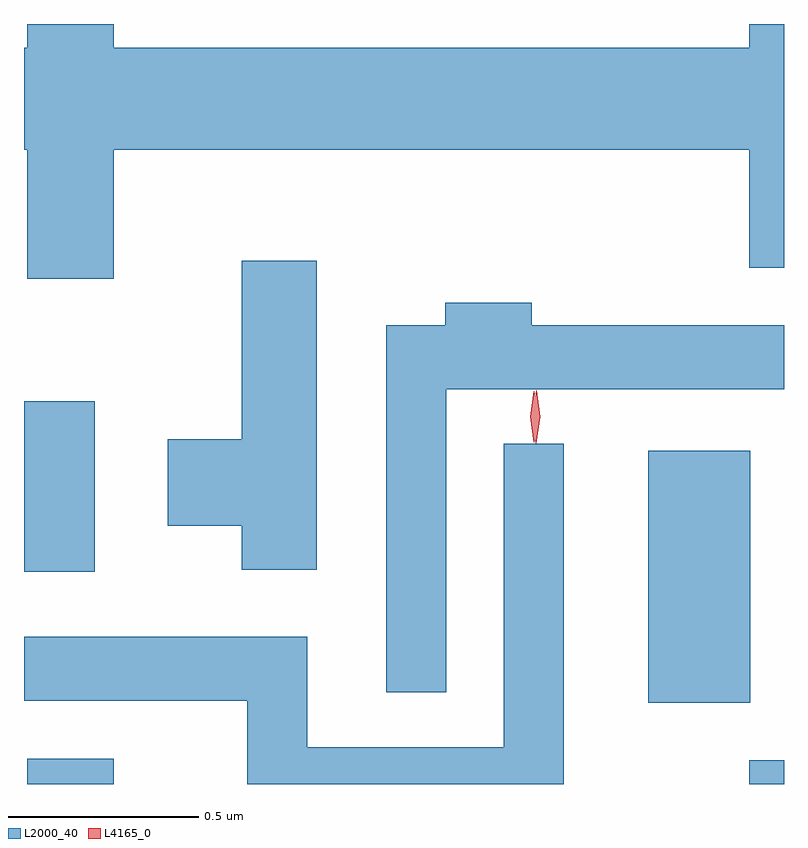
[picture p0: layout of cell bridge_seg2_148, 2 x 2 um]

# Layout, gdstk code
import gdstk
lib = gdstk.Library(unit=1e-6, precision=1e-09)
def R(c, l, rs):  # rectangles x0, y0, x1, y1
    for r in rs: c.add(gdstk.rectangle(r[:2], r[2:], *l))
def P(c, l, *ps):  # polygons
    for p in ps: c.add(gdstk.Polygon(p, *l))
L2000_40 = (2000, 40)
L4165_0 = (4165, 0)

bridge_seg2_148 = lib.new_cell('bridge_seg2_148')
R(bridge_seg2_148, L2000_40, [(1076.091,1106.587,1076.319,1106.654), (1077.991,1106.587,1078.083,1106.649), (1077.726,1106.801,1077.994,1107.464), (1076.083,1107.146,1076.269,1107.594)])
P(bridge_seg2_148, L2000_40, [(1076.319,1108.256),(1077.991,1108.256),(1077.991,1107.946),(1078.083,1107.946),(1078.083,1108.587),(1077.991,1108.587),(1077.991,1108.524),(1076.319,1108.524),(1076.319,1108.587),(1076.091,1108.587),(1076.091,1108.524),(1076.083,1108.524),(1076.083,1108.256),(1076.091,1108.256),(1076.091,1107.916),(1076.319,1107.916)],
  [(1076.854,1107.964),(1076.656,1107.964),(1076.656,1107.494),(1076.461,1107.494),(1076.461,1107.266),(1076.656,1107.266),(1076.656,1107.151),(1076.854,1107.151)],
  [(1077.194,1107.626),(1078.083,1107.626),(1078.083,1107.794),(1077.419,1107.794),(1077.419,1107.854),(1077.191,1107.854),(1077.191,1107.794),(1077.036,1107.794),(1077.036,1106.828),(1077.194,1106.828)],
  [(1077.504,1107.483),(1077.346,1107.483),(1077.346,1106.684),(1076.829,1106.684),(1076.829,1106.974),(1076.083,1106.974),(1076.083,1106.806),(1076.671,1106.806),(1076.671,1106.587),(1077.504,1106.587)])
P(bridge_seg2_148, L4165_0, [(1077.425,1107.487),(1077.425,1107.487),(1077.415,1107.554),(1077.425,1107.62),(1077.425,1107.621),(1077.426,1107.62),(1077.435,1107.554),(1077.426,1107.487)],
  [(1077.43,1107.484),(1077.421,1107.553),(1077.431,1107.622),(1077.431,1107.623),(1077.432,1107.622),(1077.441,1107.553),(1077.431,1107.484),(1077.431,1107.484)])

lib.write_gds('bridge_seg2_148.gds')
